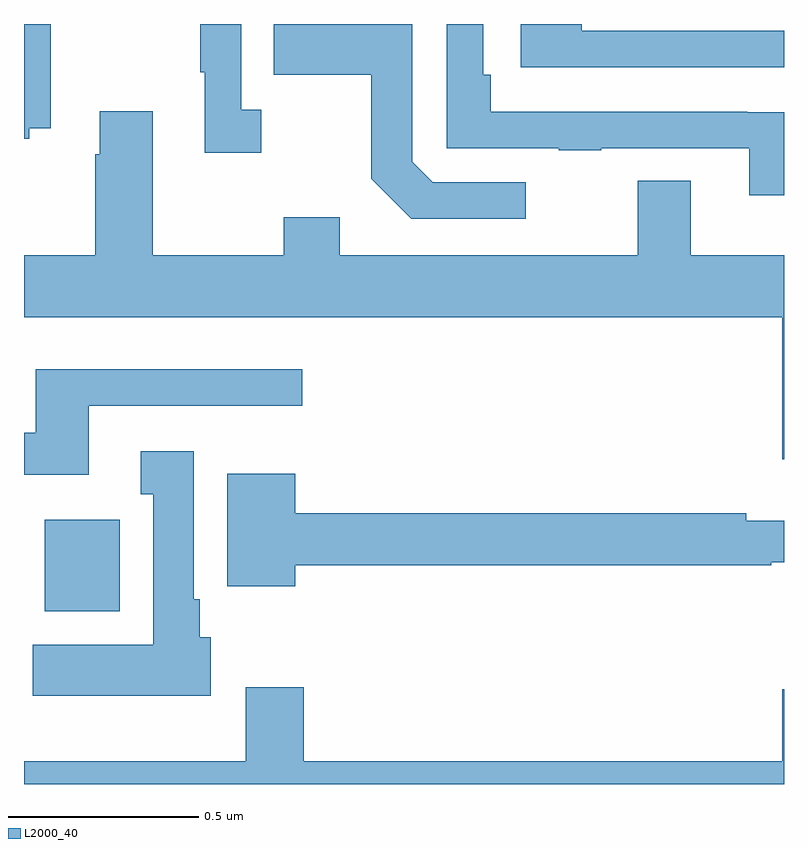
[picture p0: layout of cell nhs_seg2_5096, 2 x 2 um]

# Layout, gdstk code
import gdstk
lib = gdstk.Library(unit=1e-6, precision=1e-09)
def R(c, l, rs):  # rectangles x0, y0, x1, y1
    for r in rs: c.add(gdstk.rectangle(r[:2], r[2:], *l))
def P(c, l, *ps):  # polygons
    for p in ps: c.add(gdstk.Polygon(p, *l))
L2000_40 = (2000, 40)

nhs_seg2_5096 = lib.new_cell('nhs_seg2_5096')
R(nhs_seg2_5096, L2000_40, [(175.055,588.254,175.252,588.496)])
P(nhs_seg2_5096, L2000_40, [(176.32,589.383),(176.076,589.383),(176.022,589.437),(176.022,589.8),(175.657,589.8),(175.657,589.666),(175.914,589.666),(175.914,589.393),(176.019,589.287),(176.32,589.287)],
  [(175.624,589.574),(175.572,589.574),(175.572,589.8),(175.464,589.8),(175.464,589.673),(175.475,589.673),(175.475,589.461),(175.624,589.461)],
  [(175.014,589.526),(175.071,589.526),(175.071,589.8),(175,589.8),(175,589.498),(175.014,589.498)],
  [(177,589.568),(176.903,589.568),(176.903,589.569),(176.228,589.569),(176.228,589.666),(176.208,589.666),(176.208,589.8),(176.112,589.8),(176.112,589.473),(176.407,589.473),(176.407,589.468),(176.519,589.468),(176.519,589.473),(176.909,589.473),(176.909,589.35),(177,589.35)],
  [(177,589.782),(176.468,589.782),(176.468,589.8),(176.307,589.8),(176.307,589.686),(177,589.686)],
  [(177,589.192),(176.755,589.192),(176.755,589.387),(176.615,589.387),(176.615,589.192),(175.831,589.192),(175.831,589.291),(175.684,589.291),(175.684,589.192),(175.339,589.192),(175.339,589.57),(175.199,589.57),(175.199,589.457),(175.187,589.457),(175.187,589.192),(175,589.192),(175,589.028),(176.996,589.028),(176.996,588.654),(177,588.654)],
  [(175.171,588.795),(175.732,588.795),(175.732,588.892),(175.031,588.892),(175.031,588.724),(175,588.724),(175,588.614),(175.171,588.614)],
  [(175.492,588.186),(175.462,588.186),(175.462,588.286),(175.447,588.286),(175.447,588.676),(175.307,588.676),(175.307,588.563),(175.34,588.563),(175.34,588.166),(175.023,588.166),(175.023,588.032),(175.492,588.032)],
  [(175.714,588.376),(176.967,588.376),(176.967,588.384),(177,588.384),(177,588.493),(176.9,588.493),(176.9,588.512),(175.714,588.512),(175.714,588.616),(175.535,588.616),(175.535,588.32),(175.714,588.32)],
  [(177,588.049),(176.996,588.049),(176.996,587.86),(175.736,587.86),(175.736,588.055),(175.583,588.055),(175.583,587.86),(175,587.86),(175,587.8),(177,587.8)])

lib.write_gds('nhs_seg2_5096.gds')
